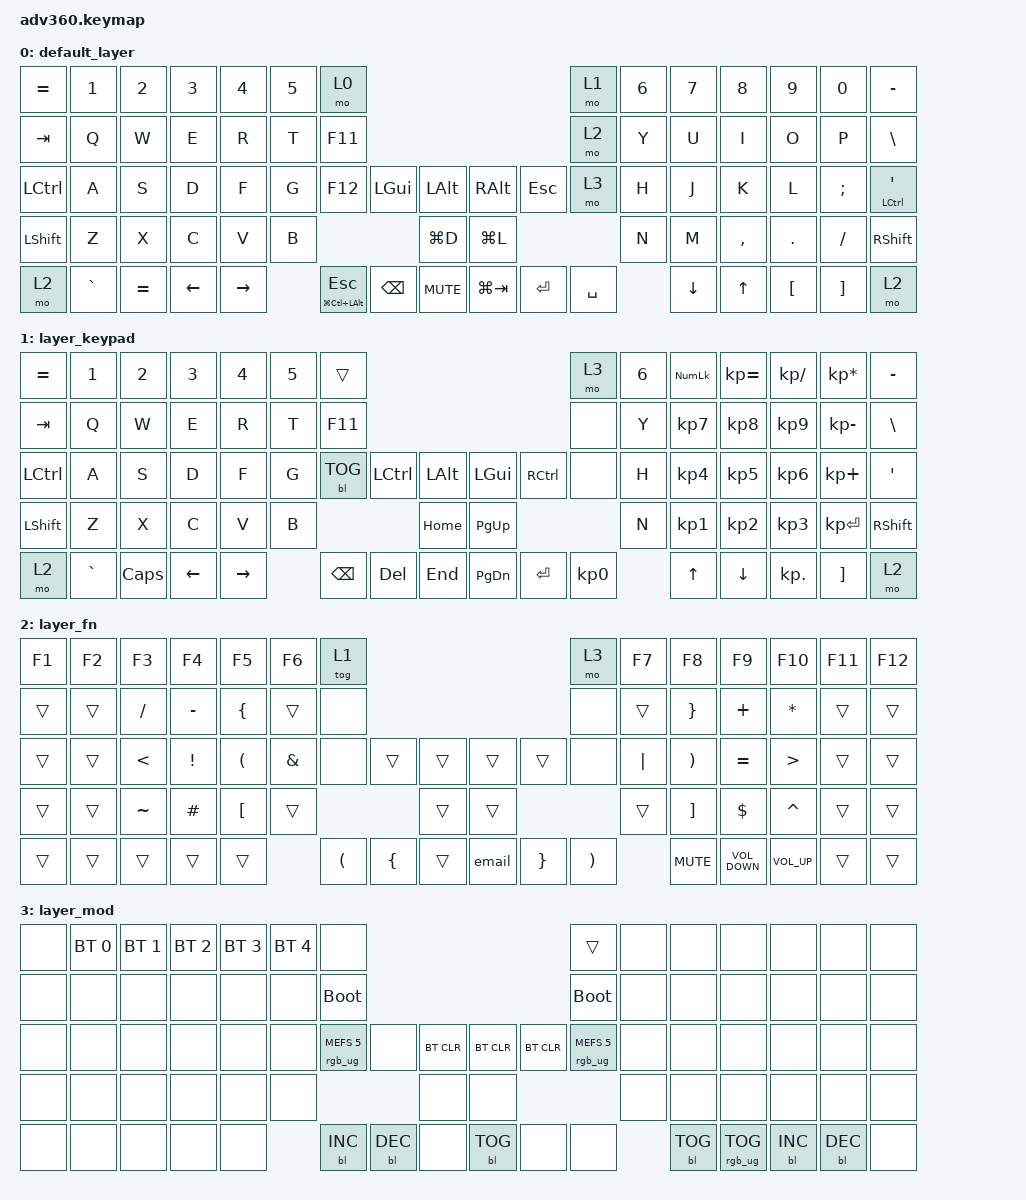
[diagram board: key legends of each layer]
/*
 * Copyright (c) 2020 The ZMK Contributors
 *
 * SPDX-License-Identifier: MIT
 */
/* THIS FILE WAS GENERATED!
 *
 * This file was generated automatically. You may or may not want to
 * edit it directly.
 */

#include <behaviors.dtsi>
#include <dt-bindings/zmk/backlight.h>
#include <dt-bindings/zmk/bt.h>
#include <dt-bindings/zmk/keys.h>
#include <dt-bindings/zmk/rgb.h>

/ {
    behaviors {
        #include "macros.dtsi"
    #include "version.dtsi"

        hm: homerow_mods {
            compatible = "zmk,behavior-hold-tap";
            label = "HOMEROW_MODS";
            #binding-cells = <2>;
            tapping-term-ms = <200>;
            quick_tap_ms = <175>;
            flavor = "tap-preferred";
            bindings = <&kp>, <&kp>;
        };
    };

    macros {
        public: public {
            compatible = "zmk,behavior-macro";
            #binding-cells = <0>;
            bindings = <&none &kp P &kp U &kp B &kp L &kp I &kp C &kp SPACE>;
            label = "PUBLIC";
        };

        function: function {
            compatible = "zmk,behavior-macro";
            #binding-cells = <0>;
            bindings = <&none &kp F &kp U &kp N &kp C &kp T &kp I &kp O &kp N &kp SPACE>;
            label = "FUNCTION";
        };

        email: email {
            compatible = "zmk,behavior-macro";
            #binding-cells = <0>;
            bindings = <&none &kp D &kp A &kp N &kp I &kp E &kp L &kp DOT &kp H &kp O &kp F &kp F &kp M &kp A &kp N &kp N &kp AT &kp C &kp T &kp H &kp N2 &kp N4 &kp DOT &kp D &kp E>;
            label = "EMAIL";
        };
    };

    keymap {
        compatible = "zmk,keymap";

        default_layer {
            bindings = <
&kp EQUAL         &kp N1     &kp N2     &kp N3    &kp N4     &kp N5  &mo 0                                                                               &mo 1      &kp N6  &kp N7    &kp N8     &kp N9    &kp N0    &kp MINUS
&kp TAB           &kp Q      &kp W      &kp E     &kp R      &kp T   &kp F11                                                                             &mo 2      &kp Y   &kp U     &kp I      &kp O     &kp P     &kp BSLH
&kp LEFT_CONTROL  &kp A      &kp S      &kp D     &kp F      &kp G   &kp F12                      &kp LGUI       &kp LALT        &kp RALT     &kp ESC    &mo 3      &kp H   &kp J     &kp K      &kp L     &kp SEMI  &hm LCTRL SQT
&kp LSHFT         &kp Z      &kp X      &kp C     &kp V      &kp B                                               &kp LG(D)       &kp LG(L)                          &kp N   &kp M     &kp COMMA  &kp DOT   &kp FSLH  &kp RSHFT
&mo 2             &kp GRAVE  &kp EQUAL  &kp LEFT  &kp RIGHT          &hm LG(LC(LEFT_ALT)) ESCAPE  &kp BACKSPACE  &kp C_MUTE      &kp LG(TAB)  &kp ENTER  &kp SPACE          &kp DOWN  &kp UP     &kp LBKT  &kp RBKT  &mo 2
            >;
        };

        layer_keypad {
            bindings = <
&kp EQUAL  &kp N1     &kp N2    &kp N3    &kp N4     &kp N5  &trans                                                     &mo 3      &kp N6  &kp KP_NUM  &kp KP_EQUAL  &kp KP_DIVIDE  &kp KP_MULTIPLY  &kp MINUS
&kp TAB    &kp Q      &kp W     &kp E     &kp R      &kp T   &kp F11                                                    &none      &kp Y   &kp KP_N7   &kp KP_N8     &kp KP_N9      &kp KP_MINUS     &kp BSLH
&kp LCTRL  &kp A      &kp S     &kp D     &kp F      &kp G   &bl BL_TOG  &kp LCTRL  &kp LALT      &kp LGUI   &kp RCTRL  &none      &kp H   &kp KP_N4   &kp KP_N5     &kp KP_N6      &kp KP_PLUS      &kp SQT
&kp LSHFT  &kp Z      &kp X     &kp C     &kp V      &kp B                          &kp HOME      &kp PG_UP                        &kp N   &kp KP_N1   &kp KP_N2     &kp KP_N3      &kp KP_ENTER     &kp RSHFT
&mo 2      &kp GRAVE  &kp CAPS  &kp LEFT  &kp RIGHT          &kp BSPC    &kp DEL    &kp END       &kp PG_DN  &kp ENTER  &kp KP_N0          &kp UP      &kp DOWN      &kp KP_DOT     &kp RBKT         &mo 2
            >;
        };

        layer_fn {
            bindings = <
&kp F1  &kp F2  &kp F3         &kp F4           &kp F5                &kp F6         &tog 1                                                                     &mo 3                  &kp F7    &kp F8                 &kp F9             &kp F10           &kp F11  &kp F12
&trans  &trans  &kp SLASH      &kp MINUS        &kp LEFT_BRACE        &trans         &none                                                                      &none                  &trans    &kp RIGHT_BRACE        &kp PLUS           &kp ASTERISK      &trans   &trans
&trans  &trans  &kp LESS_THAN  &kp EXCLAMATION  &kp LEFT_PARENTHESIS  &kp AMPERSAND  &none                 &trans          &trans      &trans  &trans           &none                  &kp PIPE  &kp RIGHT_PARENTHESIS  &kp EQUAL          &kp GREATER_THAN  &trans   &trans
&trans  &trans  &kp TILDE      &kp HASH         &kp LEFT_BRACKET      &trans                                               &trans      &trans                                          &trans    &kp RIGHT_BRACKET      &kp DOLLAR         &kp CARET         &trans   &trans
&trans  &trans  &trans         &trans           &trans                               &kp LEFT_PARENTHESIS  &kp LEFT_BRACE  &trans      &email  &kp RIGHT_BRACE  &kp RIGHT_PARENTHESIS            &kp K_MUTE             &kp C_VOLUME_DOWN  &kp C_VOLUME_UP   &trans   &trans
            >;
        };

        layer_mod {
            bindings = <
&none  &bt BT_SEL 0  &bt BT_SEL 1  &bt BT_SEL 2  &bt BT_SEL 3  &bt BT_SEL 4  &none                                                                       &trans                  &none  &none       &none            &none       &none       &none
&none  &none         &none         &none         &none         &none         &bootloader                                                                 &bootloader             &none  &none       &none            &none       &none       &none
&none  &none         &none         &none         &none         &none         &rgb_ug RGB_MEFS_CMD 5  &none       &bt BT_CLR      &bt BT_CLR  &bt BT_CLR  &rgb_ug RGB_MEFS_CMD 5  &none  &none       &none            &none       &none       &none
&none  &none         &none         &none         &none         &none                                             &none           &none                                           &none  &none       &none            &none       &none       &none
&none  &none         &none         &none         &none                       &bl BL_INC              &bl BL_DEC  &none           &bl BL_TOG  &none       &none                          &bl BL_TOG  &rgb_ug RGB_TOG  &bl BL_INC  &bl BL_DEC  &none
            >;
        };
    };
};
